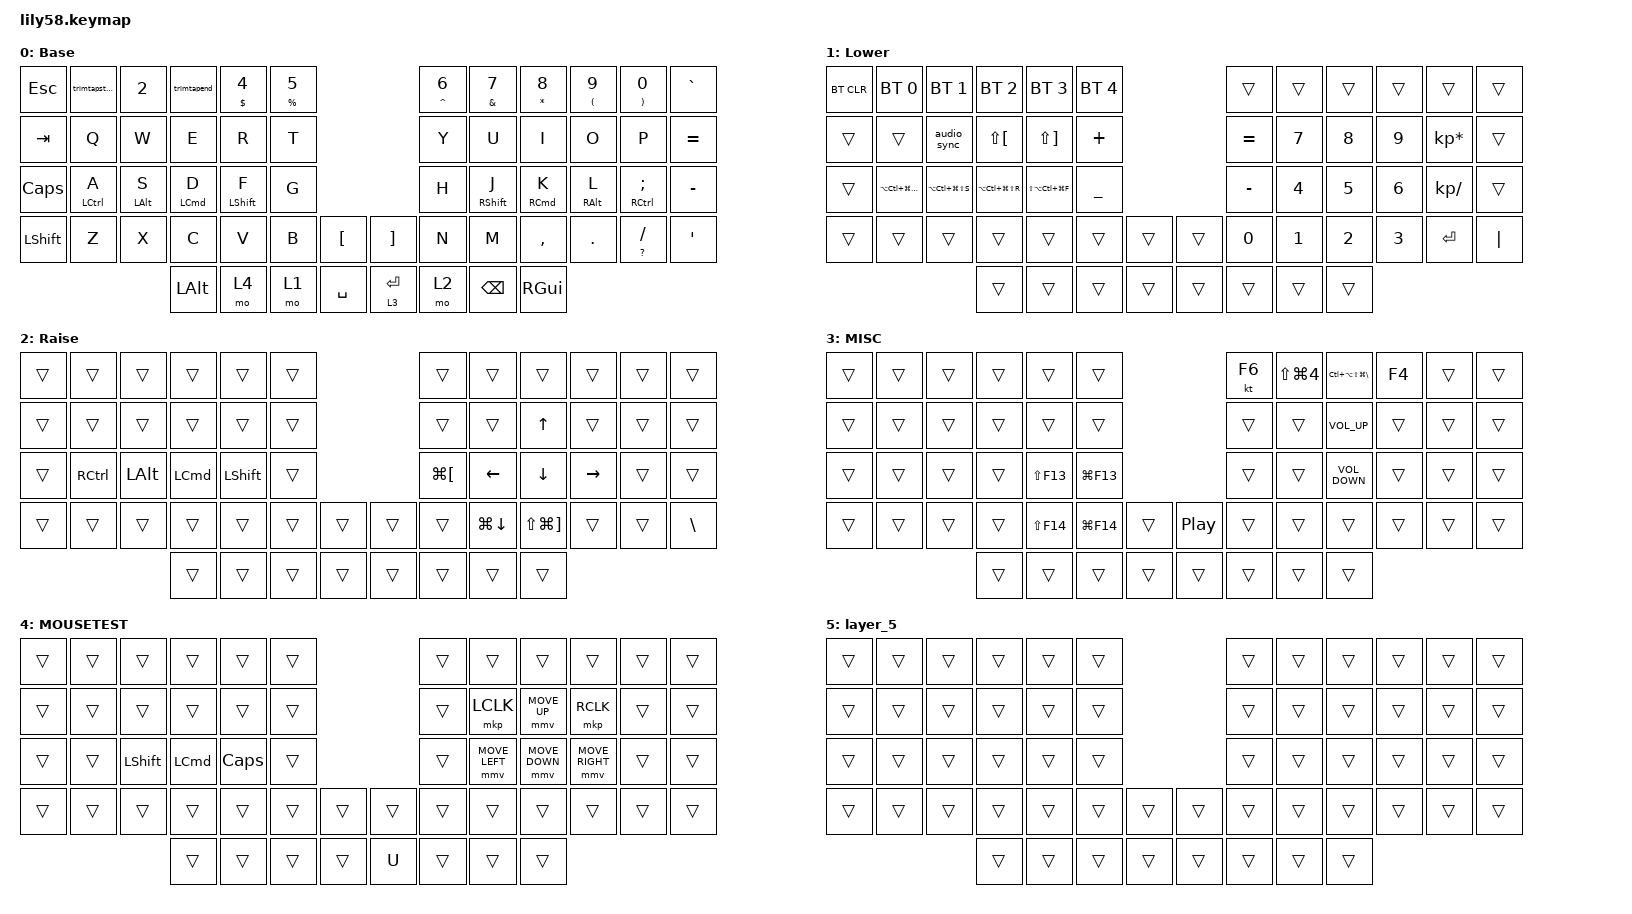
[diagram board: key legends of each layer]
/*
 * Copyright (c) 2020 The ZMK Contributors
 *
 * SPDX-License-Identifier: MIT
 */

#include <behaviors.dtsi>
#include <dt-bindings/zmk/bt.h>
#include <dt-bindings/zmk/keys.h>
#include <dt-bindings/zmk/pointing.h>

&mt {
    tapping-term-ms = <300>;
    flavor = "balanced";
};

/ {
    behaviors {
        hml: hml {
            compatible = "zmk,behavior-hold-tap";
            label = "HML";
            bindings = <&kp>, <&kp>;

            #binding-cells = <2>;
            tapping-term-ms = <250>;
            flavor = "tap-preferred";
            hold-trigger-key-positions = <15 0 1 2 3 4 5 6 7 8 9 10 11 12 13 14 15 16 17 18 19 20 21 22 23 24 25 26 27 28 29 30 31 32 33 34 35 36 37 38 39 40 41 42 43 44 45 46 47 48 49 50 51 52 53 54 55 56 57>;
            quick-tap-ms = <(-1)>;
        };

        hmr: hmr {
            compatible = "zmk,behavior-hold-tap";
            label = "HMR";
            bindings = <&kp>, <&kp>;

            #binding-cells = <2>;
            tapping-term-ms = <250>;
            flavor = "tap-preferred";
            hold-trigger-key-positions = <0 57 0 1 2 3 4 5 6 7 8 9 10 11 12 13 14 15 16 17 18 19 20 21 22 23 24 25 26 27 28 29 30 31 32 33 34 35 36 37 38 39 40 41 42 43 44 45 46 47 48 49 50 51 52 53 54 55 56 57>;
            quick-tap-ms = <(-1)>;
        };

        trimtapstart: trimtapstart {
            compatible = "zmk,behavior-tap-dance";
            label = "TRIMTAPSTART";
            #binding-cells = <0>;
            bindings = <&kp NUMBER_1>, <&kp LS(LG(LEFT_BRACKET))>;
        };

        trimtapend: trimtapend {
            compatible = "zmk,behavior-tap-dance";
            label = "TRIMTAPEND";
            #binding-cells = <0>;
            bindings = <&kp NUMBER_3>, <&kp LS(LG(RIGHT_BRACKET))>;
        };
    };

    combos {
        compatible = "zmk,combos";

        SpaceLeft {
            bindings = <&kp LC(LEFT_ARROW)>;
            key-positions = <13 14>;
        };

        SpaceRight {
            bindings = <&kp LC(RIGHT_ARROW)>;
            key-positions = <14 15>;
        };

        Undo {
            bindings = <&kp LG(Z)>;
            key-positions = <37 38>;
        };

        Copy {
            bindings = <&kp LG(C)>;
            key-positions = <38 39>;
        };

        Paste {
            bindings = <&kp LG(V)>;
            key-positions = <39 40>;
        };
    };

    macros {
        audio_sync: audio_sync {
            compatible = "zmk,behavior-macro";
            #binding-cells = <0>;
            bindings = <&kt LS(U) &kp RIGHT &kp LEFT &kp ENTER>;
            label = "AUDIO_SYNC";
        };
    };

    keymap {
        compatible = "zmk,keymap";

        default_layer {
            // ------------------------------------------------------------------------------------------------------------
            // |  ESC  |  1  |  2  |  3   |  4   |  5   |                   |  6   |  7    |  8    |  9   |   0   |   `   |
            // |  TAB  |  Q  |  W  |  E   |  R   |  T   |                   |  Y   |  U    |  I    |  O   |   P   |   -   |
            // |  CTRL |  A  |  S  |  D   |  F   |  G   |                   |  H   |  J    |  K    |  L   |   ;   |   '   |
            // | SHIFT |  Z  |  X  |  C   |  V   |  B   |   "["  |  |  "]"  |  N   |  M    |  ,    |  .   |   /   | SHIFT |
            //                     | ALT  | GUI  | LOWER|  SPACE |  | ENTER | RAISE| BSPC  | GUI   |

            display-name = "Base";
            bindings = <
&kp ESC       &trimtapstart  &kp NUMBER_2     &trimtapend          &mt DOLLAR N4  &mt PERCENT N5                            &mt CARET N6  &mt AMPERSAND N7    &mt ASTRK N8          &mt LEFT_PARENTHESIS N9  &mt RIGHT_PARENTHESIS N0  &kp GRAVE
&kp TAB       &kp Q          &kp W            &kp E                &kp R          &kp T                                     &kp Y         &kp U               &kp I                 &kp O                    &kp P                     &kp EQUAL
&kp CAPSLOCK  &hml LCTRL A   &hml LEFT_ALT S  &hml LEFT_COMMAND D  &hml LSHIFT F  &kp G                                     &kp H         &hmr RIGHT_SHIFT J  &hmr RIGHT_COMMAND K  &hmr RIGHT_ALT L         &hmr RIGHT_CONTROL SEMI   &kp MINUS
&kp LSHFT     &kp Z          &kp X            &kp C                &kp V          &kp B           &kp LBKT     &kp RBKT     &kp N         &kp M               &kp COMMA             &kp DOT                  &mt QMARK SLASH           &kp APOS
                                              &kp LALT             &mo 4          &mo 1           &kp SPACE    &lt 3 ENTER  &mo 2         &kp BSPC            &kp RGUI
            >;
        };

        lower_layer {
            // ------------------------------------------------------------------------------------------------------------
            // | BTCLR | BT1 | BT2 |  BT3 |  BT4 |  BT5 |                   |      |       |       |      |       |       |
            // |  F1   |  F2 |  F3 |  F4  |  F5  |  F6  |                   |  F7  |  F8   |  F9   |  F10 |  F11  |  F12  |
            // |   `   |  !  |  @  |  #   |  $   |  %   |                   |  ^   |  &    |  *    |  (   |   )   |   ~   |
            // |       |     |     |      |      |      |        |  |       |      |  _    |  +    |  {   |   }   |  "|"  |
            //                     |      |      |      |        |  |       |      |       |       |

            display-name = "Lower";
            bindings = <
&bt BT_CLR  &bt BT_SEL 0           &bt BT_SEL 1           &bt BT_SEL 2           &bt BT_SEL 3           &bt BT_SEL 4                    &trans     &trans        &trans        &trans        &trans           &trans
&trans      &trans                 &audio_sync            &kp LS(LEFT_BRACKET)   &kp LS(RIGHT_BRACKET)  &kp PLUS                        &kp EQUAL  &kp N7        &kp N8        &kp N9        &kp KP_MULTIPLY  &trans
&trans      &kp LA(LC(LG(LS(M))))  &kp LA(LC(LG(LS(S))))  &kp LA(LC(LG(LS(R))))  &kp LS(LA(LC(LG(F))))  &kp UNDER                       &kp MINUS  &kp NUMBER_4  &kp N5        &kp NUMBER_6  &kp KP_DIVIDE    &trans
&trans      &trans                 &trans                 &trans                 &trans                 &trans        &trans    &trans  &kp N0     &kp NUMBER_1  &kp NUMBER_2  &kp NUMBER_3  &kp ENTER        &kp PIPE
                                                          &trans                 &trans                 &trans        &trans    &trans  &trans     &trans        &trans
            >;
        };

        NAV {
            // ------------------------------------------------------------------------------------------------------------
            // |       |     |     |      |      |      |                   |      |       |       |      |       |       |
            // |   `   |  1  |  2  |  3   |  4   |  5   |                   |  6   |   7   |   8   |  9   |   0   |       |
            // |   F1  |  F2 |  F3 |  F4  |  F5  |  F6  |                   |      |   <-  |   v   |  ^   |  ->   |       |
            // |   F7  |  F8 |  F9 |  F10 |  F11 |  F12 |        |  |       |  +   |   -   |   =   |  [   |   ]   |   \   |
            //                     |      |      |      |        |  |       |      |       |       |

            display-name = "Raise";
            bindings = <
&trans  &trans             &trans        &trans            &trans          &trans                    &trans                &trans        &trans                     &trans     &trans  &trans
&trans  &trans             &trans        &trans            &trans          &trans                    &trans                &trans        &kp UP_ARROW               &trans     &trans  &trans
&trans  &kp RIGHT_CONTROL  &kp LEFT_ALT  &kp LEFT_COMMAND  &kp LEFT_SHIFT  &trans                    &kp LG(LEFT_BRACKET)  &kp LEFT      &kp DOWN                   &kp RIGHT  &trans  &trans
&trans  &trans             &trans        &trans            &trans          &trans  &trans    &trans  &trans                &kp LG(DOWN)  &kp LS(LG(RIGHT_BRACKET))  &trans     &trans  &kp BSLH
                                         &trans            &trans          &trans  &trans    &trans  &trans                &trans        &trans
            >;
        };

        MISC {
            bindings = <
&trans  &trans  &trans  &trans  &trans       &trans                                   &kt F6  &kp LS(LG(NUMBER_4))  &kp LC(LA(LS(LG(BACKSLASH))))  &kp F4  &trans  &trans
&trans  &trans  &trans  &trans  &trans       &trans                                   &trans  &trans                &kp C_VOLUME_UP                &trans  &trans  &trans
&trans  &trans  &trans  &trans  &kp LS(F13)  &kp LG(F13)                              &trans  &trans                &kp C_VOLUME_DOWN              &trans  &trans  &trans
&trans  &trans  &trans  &trans  &kp LS(F14)  &kp LG(F14)  &trans    &kp C_PLAY_PAUSE  &trans  &trans                &trans                         &trans  &trans  &trans
                        &trans  &trans       &trans       &trans    &trans            &trans  &trans                &trans
            >;
        };

        MOUSETEST {
            bindings = <
&trans  &trans  &trans          &trans            &trans        &trans                    &trans  &trans          &trans          &trans           &trans  &trans
&trans  &trans  &trans          &trans            &trans        &trans                    &trans  &mkp LCLK       &mmv MOVE_UP    &mkp RCLK        &trans  &trans
&trans  &trans  &kp LEFT_SHIFT  &kp LEFT_COMMAND  &kp CAPSLOCK  &trans                    &trans  &mmv MOVE_LEFT  &mmv MOVE_DOWN  &mmv MOVE_RIGHT  &trans  &trans
&trans  &trans  &trans          &trans            &trans        &trans  &trans    &trans  &trans  &trans          &trans          &trans           &trans  &trans
                                &trans            &trans        &trans  &trans    &kp U   &trans  &trans          &trans
            >;
        };

        layer_5 {
            bindings = <
&trans  &trans  &trans  &trans  &trans  &trans                    &trans  &trans  &trans  &trans  &trans  &trans
&trans  &trans  &trans  &trans  &trans  &trans                    &trans  &trans  &trans  &trans  &trans  &trans
&trans  &trans  &trans  &trans  &trans  &trans                    &trans  &trans  &trans  &trans  &trans  &trans
&trans  &trans  &trans  &trans  &trans  &trans  &trans    &trans  &trans  &trans  &trans  &trans  &trans  &trans
                        &trans  &trans  &trans  &trans    &trans  &trans  &trans  &trans
            >;
        };
    };
};
